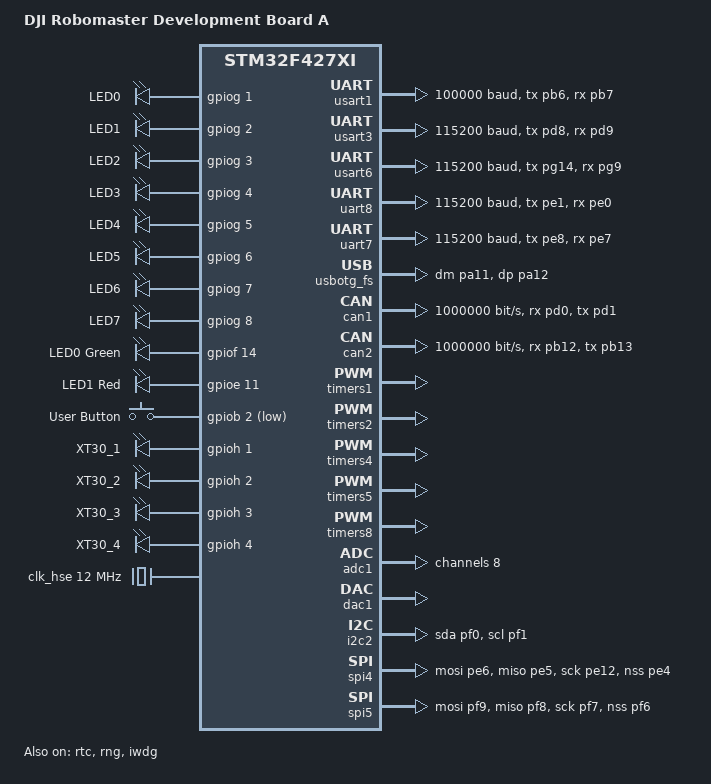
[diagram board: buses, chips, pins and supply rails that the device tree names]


/dts-v1/;
#include <st/f4/stm32f427Xi.dtsi>
#include <st/f4/stm32f427i(g-i)hx-pinctrl.dtsi>
#include <zephyr/dt-bindings/input/input-event-codes.h>


/ {
	model = "DJI Robomaster Development Board A";
	compatible = "dji,robomaster-board-a";

	chosen {
		zephyr,console = &usart6;
		zephyr,shell-uart = &usart6;
		zephyr,sram = &sram0;
		zephyr,button = &user_button;
		zephyr,flash = &flash0;
		zephyr,ccm = &ccm0;
		sbus,uart = &usart1;
	};

	aliases {
		led0 = &led_0;
		led1 = &led_1;
		led2 = &led_2;
		led3 = &led_3;
		led4 = &led_4;
		led5 = &led_5;
		led6 = &led_6;
		led7 = &led_7;
		led8 = &led_0_green;
		led9 = &led_1_red;

		watchdog0 = &iwdg;

	};

	leds {
		compatible = "gpio-leds";
		led_0: led_0 {
			gpios = <&gpiog 1 GPIO_ACTIVE_HIGH>;
			label = "LED0";
		};
		led_1: led_1 {
			gpios = <&gpiog 2 GPIO_ACTIVE_HIGH>;
			label = "LED1";
		};
		led_2: led_2 {
			gpios = <&gpiog 3 GPIO_ACTIVE_HIGH>;
			label = "LED2";
		};
		led_3: led_3 {
			gpios = <&gpiog 4 GPIO_ACTIVE_HIGH>;
			label = "LED3";
		};
		led_4: led_4 {
			gpios = <&gpiog 5 GPIO_ACTIVE_HIGH>;
			label = "LED4";
		};
		led_5: led_5 {
			gpios = <&gpiog 6 GPIO_ACTIVE_HIGH>;
			label = "LED5";
		};
		led_6: led_6 {
			gpios = <&gpiog 7 GPIO_ACTIVE_HIGH>;
			label = "LED6";
		};
		led_7: led_7 {
			gpios = <&gpiog 8 GPIO_ACTIVE_HIGH>;
			label = "LED7";
		};
		led_0_green: led_0_green {
			gpios = <&gpiof 14 GPIO_ACTIVE_HIGH>;
			label = "LED0 Green";
		};
		led_1_red: led_1_red {
			gpios = <&gpioe 11 GPIO_ACTIVE_HIGH>;
			label = "LED1 Red";
		};
	};

	buttons {
		compatible = "gpio-keys";
		user_button: button_0 {
			gpios = <&gpiob 2 (GPIO_PULL_UP | GPIO_ACTIVE_LOW)>;
			label = "User Button";
			zephyr,code = <INPUT_KEY_0>;
		};
	};
    powerctrl {
		compatible = "gpio-leds";
		status = "okay";
		power1: power1 {
			gpios = <&gpioh 1 GPIO_ACTIVE_HIGH>;
			label = "XT30_1";
		};
		power2: power2 {
			gpios = <&gpioh 2 GPIO_ACTIVE_HIGH>;
			label = "XT30_2";
		};
		power3: power3 {
			gpios = <&gpioh 3 GPIO_ACTIVE_HIGH>;
			label = "XT30_3";
		};
		power4: power4 {
			gpios = <&gpioh 4 GPIO_ACTIVE_HIGH>;
			label = "XT30_4";
		};
	};
};

&clk_lsi {
	status = "okay";
};

&clk_hse {
	clock-frequency = <DT_FREQ_M(12)>;
	status = "okay";
};

&pll {
	div-m = <6>;
	mul-n = <180>;
	div-p = <2>;
	div-q = <4>;
	clocks = <&clk_hse>;
	status = "okay";
};

&rcc {
	clocks = <&pll>;
	clock-frequency = <DT_FREQ_M(180)>;
	ahb-prescaler = <1>;
	apb1-prescaler = <4>;
	apb2-prescaler = <2>;
};

&rtc {
	clocks = <&rcc STM32_CLOCK_BUS_APB1 0x10000000>,
			<&rcc STM32_SRC_LSI RTC_SEL(2)>;
	status = "okay";
};

&rng {
	status = "okay";
};

&iwdg {
	status = "okay";
};

&usart1 {
    pinctrl-0 = <&usart1_tx_pb6 &usart1_rx_pb7>;
    pinctrl-names = "default";
    current-speed = <100000>;
    status = "okay";
    data-bits = <8>;
    stop-bits = "2";
    parity = "even";
    dmas = <&dma2 2 5 STM32_DMA_PERIPH_RX STM32_DMA_FIFO_FULL>,
		   <&dma2 7 4 STM32_DMA_PERIPH_TX STM32_DMA_FIFO_FULL>;
    //<&dmax stream channel flags>
		   dma-names = "rx", "tx";
};
&dma2 {
	status = "okay";
};
&dma1 {
    status = "okay";
};
&usart3 {
	pinctrl-0 = <&usart3_tx_pd8 &usart3_rx_pd9>;
	pinctrl-names = "default";
	current-speed = <115200>;
	status = "okay";

};

&usart6 {
	pinctrl-0 = <&usart6_tx_pg14 &usart6_rx_pg9>;
	pinctrl-names = "default";
	current-speed = <115200>;
	status = "okay";
	data-bits = <8>;
	stop-bits = "1";
	// parity = "even";
};
&uart8 {
	pinctrl-0 = <&uart8_tx_pe1 &uart8_rx_pe0>;
	pinctrl-names = "default";
	current-speed = <115200>;
	status = "okay";

};
&uart7 {
	pinctrl-0 = <&uart7_tx_pe8 &uart7_rx_pe7>;
	pinctrl-names = "default";
	current-speed = <115200>;
	status = "okay";

};

zephyr_udc0: &usbotg_fs {
	pinctrl-0 = <&usb_otg_fs_dm_pa11 &usb_otg_fs_dp_pa12>;
	pinctrl-names = "default";
	status = "okay";
};

&can1 {
	status = "okay";
	pinctrl-0 = <&can1_rx_pd0 &can1_tx_pd1>;
	pinctrl-names = "default";
	bitrate = <1000000>;
};

&can2 {
	pinctrl-0 = <&can2_rx_pb12 &can2_tx_pb13>;
	pinctrl-names = "default";
	bitrate = <1000000>;
	status = "okay";
};
//左上左下右下右上
&timers1 {
	status = "okay";
	st,prescaler = <10000>;
	//st,countermode = <1>;
	// four-channel-capture-support=true;
	pwm1: pwm {
		status = "okay";
		pinctrl-0 = <&tim1_ch1_pa8
					&tim1_ch2_pa9
					&tim1_ch3_pe13
					&tim1_ch4_pe14>;
		pinctrl-names = "default";

	};
};
//zyxw
&timers2 {
	status = "okay";
	st,prescaler = <10000>;

	pwm2: pwm {
		status = "okay";
		pinctrl-0 = <&tim2_ch1_pa0
					&tim2_ch2_pa1
					&tim2_ch3_pa2
					&tim2_ch4_pa3>;
		pinctrl-names = "default";
	};
};
//abcd
&timers4 {
	status = "okay";
	st,prescaler = <10000>;

	pwm4: pwm {
		status = "okay";
		pinctrl-0 = <&tim4_ch1_pd12
					&tim4_ch2_pd13
					&tim4_ch3_pd14
					&tim4_ch4_pd15>;
		pinctrl-names = "default";
	};
};
//efgh
&timers5 {
	status = "okay";
	st,prescaler = <10000>;

	pwm5: pwm {
		status = "okay";
		pinctrl-0 = <&tim5_ch1_ph10
					&tim5_ch2_ph11
					&tim5_ch3_ph12
					&tim5_ch4_pi0>;
		pinctrl-names = "default";
	};
};
//vuts
&timers8 {
	status = "okay";
	st,prescaler = <10000>;

	pwm8: pwm {
		status = "okay";
		pinctrl-0 = <&tim8_ch1_pi5
					&tim8_ch2_pi6
					&tim8_ch3_pi7
					&tim8_ch4_pi2>;
		pinctrl-names = "default";
	};
};
&adc1 {
	#address-cells = <1>;
	#size-cells = <0>;
	st,adc-prescaler = <4>;
	status = "okay";

	// vref-mv
	// num-sampling-time-common-channels
	channel@8 {
        reg = <8>;              // 通道8,最多15,l2m2n2o2l1m1n1o1
        zephyr,gain = "ADC_GAIN_1";           // 增益1倍
        zephyr,reference = "ADC_REF_INTERNAL"; // 内部参考
        zephyr,acquisition-time = <ADC_ACQ_TIME(ADC_ACQ_TIME_MICROSECONDS, 10)>; // 采样时间10us
        zephyr,resolution = <12>;     // 12位分辨率
		// zephyr,differential
		// zephyr,input-positive
		// zephyr,input-negative
		// zephyr,oversampling
		// zephyr,current-source-pin
		// zephyr,vbias-pins
	};
};
&dac1{
	status = "okay";//out1out2-p2p1 exit9-q2
};
&i2c2 {
	status = "okay";
	pinctrl-0 = <&i2c2_sda_pf0 &i2c2_scl_pf1>;//i2 i1
	pinctrl-names = "default";
	//clock-frequency = <>;
	//scl-gpio
	//sda-gpio
	//sq-size
	//cq-size
};
//k1j1k2j2
&spi4 {
	status = "okay";
	pinctrl-0=<&spi4_mosi_pe6
			&spi4_miso_pe5
			&spi4_sck_pe12
			&spi4_nss_pe4>;
	pinctrl-names="default";
	dmas = <&dma2 0 4 STM32_DMA_PERIPH_RX STM32_DMA_FIFO_FULL>,
		   <&dma2 4 5 STM32_DMA_PERIPH_TX STM32_DMA_FIFO_FULL>;
	//<&dmax stream channel flags>
	dma-names = "rx", "tx";
};

&spi5 {
	status = "okay";
	pinctrl-0=<&spi5_mosi_pf9
			&spi5_miso_pf8
			&spi5_sck_pf7
			&spi5_nss_pf6>;
	pinctrl-names="default";
	// mpu6600@0
};
